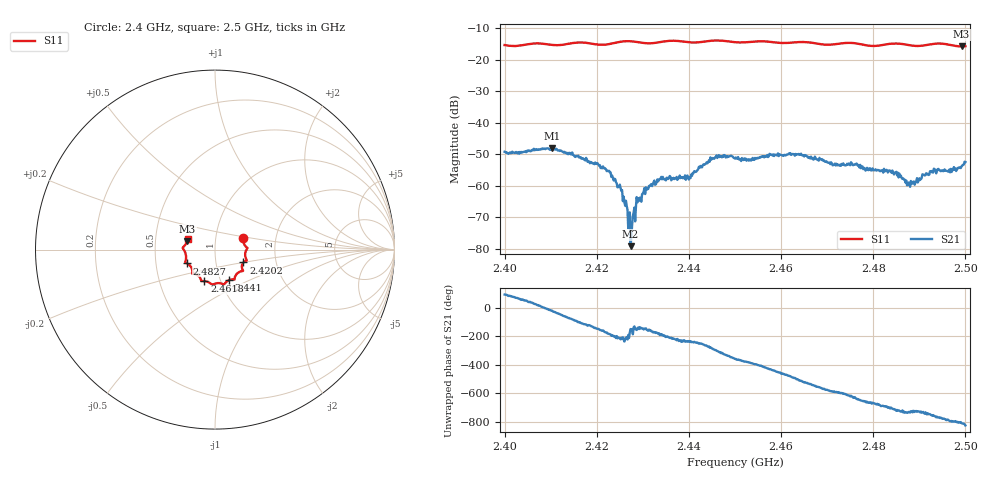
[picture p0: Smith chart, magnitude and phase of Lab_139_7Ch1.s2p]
# Hz S RI R 50
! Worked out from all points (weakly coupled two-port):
!   601 points, 2.4 GHz to 2.5 GHz, reference 50 ohm
!   highest |S21| = -48.14 dB at 2.4103 GHz (marker M1); lowest = -79.3 dB at 2.4273 GHz (marker M2)
!   lowest |S11| = -15.8 dB at 2.4992 GHz (marker M3), VSWR 1.39, Z = 36.5 + j3.64 ohm
!   |S11| at or under -10 dB: start of sweep to end of sweep
!   S12 and S22 are empty: the file has one direction only
!   S11 on the Smith chart (normalised r, x): 2.4 GHz: 1.36, +0.18; 2.4202 GHz: 1.36, -0.20; 2.441 GHz: 1.10, -0.39; 2.4618 GHz: 0.84, -0.30; 2.4827 GHz: 0.72, -0.12; 2.5 GHz: 0.73, +0.09
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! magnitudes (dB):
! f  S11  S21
! 2.4 GHz  -15.4  -49.3
! 2.4103 GHz  -15.3  -48.1
! 2.4167 GHz  -14.6  -51.5
! 2.4202 GHz  -15.2  -52.9
! 2.4225 GHz  -15.1  -55.4
! 2.425 GHz  -14.3  -59.7
! 2.4273 GHz  -14.2  -79.3
! 2.4278 GHz  -14.2  -69.6
! 2.4282 GHz  -14.3  -67.0
! 2.429 GHz  -14.5  -64.1
! 2.4333 GHz  -14.5  -58.7
! 2.441 GHz  -14.6  -56.1
! 2.446 GHz  -13.9  -50.4
! 2.45 GHz  -14.5  -51.4
! 2.4618 GHz  -14.6  -50.0
! 2.4667 GHz  -14.6  -51.4
! 2.4827 GHz  -15.2  -55.4
! 2.4833 GHz  -15.0  -55.4
! 2.4878 GHz  -15.4  -59.6
! 2.4928 GHz  -15.0  -55.8
! 2.4992 GHz  -15.8  -53.9
! 2.5 GHz  -15.7  -52.5
